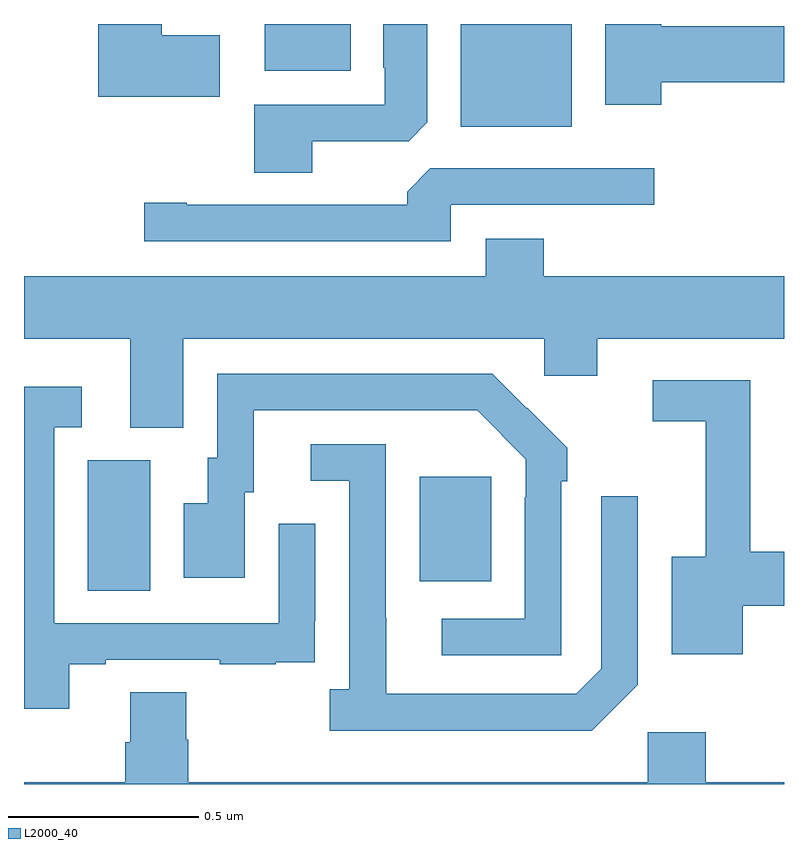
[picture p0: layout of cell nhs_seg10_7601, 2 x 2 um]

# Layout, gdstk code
import gdstk
lib = gdstk.Library(unit=1e-6, precision=1e-09)
def R(c, l, rs):  # rectangles x0, y0, x1, y1
    for r in rs: c.add(gdstk.rectangle(r[:2], r[2:], *l))
def P(c, l, *ps):  # polygons
    for p in ps: c.add(gdstk.Polygon(p, *l))
L2000_40 = (2000, 40)

nhs_seg10_7601 = lib.new_cell('nhs_seg10_7601')
R(nhs_seg10_7601, L2000_40, [(206.168,1277.008,206.332,1277.352), (207.041,1277.033,207.229,1277.308), (207.149,1278.23,207.442,1278.5), (206.633,1278.377,206.86,1278.5)])
P(nhs_seg10_7601, L2000_40, [(206.515,1278.471),(206.362,1278.471),(206.362,1278.5),(206.195,1278.5),(206.195,1278.308),(206.515,1278.308)],
  [(207.677,1278.347),(208,1278.347),(208,1278.494),(207.677,1278.494),(207.677,1278.5),(207.53,1278.5),(207.53,1278.288),(207.677,1278.288)],
  [(206.758,1278.192),(207.012,1278.192),(207.061,1278.241),(207.061,1278.5),(206.945,1278.5),(206.945,1278.385),(206.949,1278.385),(206.949,1278.288),(206.606,1278.288),(206.606,1278.109),(206.758,1278.109)],
  [(207.123,1278.024),(207.658,1278.024),(207.658,1278.12),(207.069,1278.12),(207.008,1278.058),(207.008,1278.024),(206.428,1278.024),(206.428,1278.029),(206.316,1278.029),(206.316,1277.928),(207.123,1277.928)],
  [(206.419,1277.672),(207.369,1277.672),(207.369,1277.574),(207.508,1277.574),(207.508,1277.672),(208,1277.672),(208,1277.836),(207.368,1277.836),(207.368,1277.935),(207.215,1277.935),(207.215,1277.836),(206,1277.836),(206,1277.672),(206.279,1277.672),(206.279,1277.437),(206.419,1277.437)],
  [(207.414,1277.297),(207.429,1277.297),(207.429,1277.385),(207.324,1277.49),(207.323,1277.489),(207.232,1277.58),(206.508,1277.58),(206.508,1277.358),(206.483,1277.358),(206.483,1277.239),(206.42,1277.239),(206.42,1277.043),(206.581,1277.043),(206.581,1277.268),(206.605,1277.268),(206.605,1277.484),(207.193,1277.484),(207.321,1277.355),(207.321,1277.255),(207.318,1277.255),(207.318,1276.935),(207.099,1276.935),(207.099,1276.839),(207.414,1276.839)],
  [(207.892,1276.969),(208,1276.969),(208,1277.111),(207.911,1277.111),(207.911,1277.562),(207.654,1277.562),(207.654,1277.454),(207.794,1277.454),(207.794,1277.098),(207.704,1277.098),(207.704,1276.841),(207.892,1276.841)],
  [(206.119,1276.815),(206.215,1276.815),(206.215,1276.827),(206.515,1276.827),(206.515,1276.815),(206.663,1276.815),(206.663,1276.821),(206.765,1276.821),(206.765,1276.93),(206.766,1276.93),(206.766,1277.185),(206.67,1277.185),(206.67,1276.923),(206.079,1276.923),(206.079,1277.439),(206.152,1277.439),(206.152,1277.545),(206,1277.545),(206,1276.698),(206.119,1276.698)],
  [(207.615,1276.761),(207.615,1277.257),(207.519,1277.257),(207.519,1276.803),(207.453,1276.737),(206.953,1276.737),(206.953,1276.937),(206.952,1276.937),(206.952,1277.394),(206.754,1277.394),(206.754,1277.298),(206.856,1277.298),(206.856,1276.75),(206.805,1276.75),(206.805,1276.64),(207.494,1276.64)],
  [(208,1276.504),(207.794,1276.504),(207.794,1276.636),(207.642,1276.636),(207.642,1276.504),(206.432,1276.504),(206.432,1276.617),(206.427,1276.617),(206.427,1276.742),(206.279,1276.742),(206.279,1276.61),(206.267,1276.61),(206.267,1276.504),(206,1276.504),(206,1276.5),(208,1276.5)])

lib.write_gds('nhs_seg10_7601.gds')
